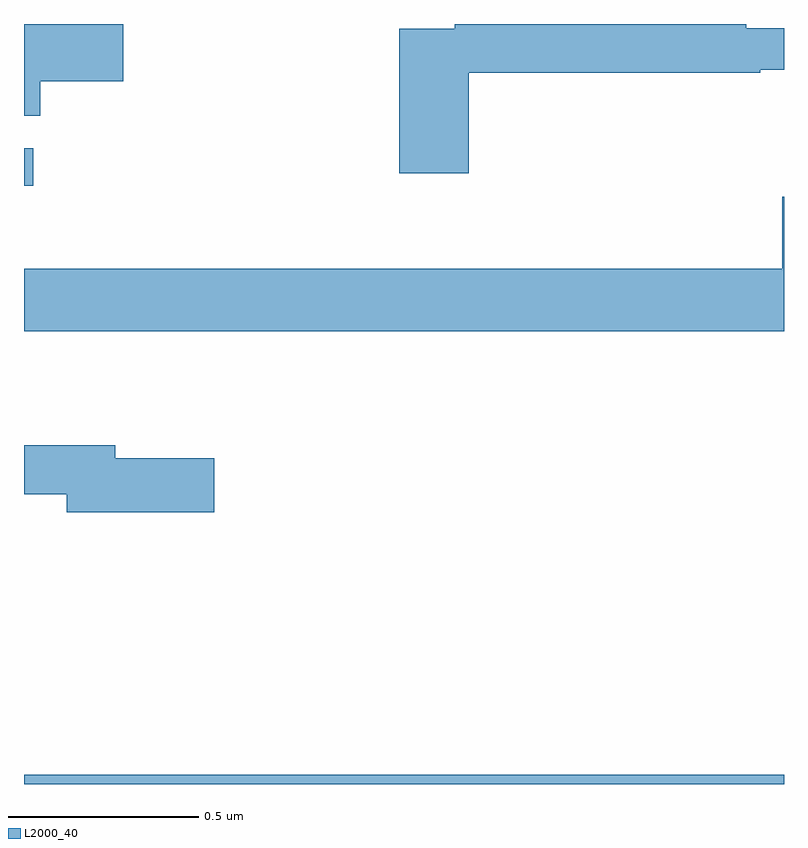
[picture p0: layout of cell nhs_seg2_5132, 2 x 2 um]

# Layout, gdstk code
import gdstk
lib = gdstk.Library(unit=1e-6, precision=1e-09)
def R(c, l, rs):  # rectangles x0, y0, x1, y1
    for r in rs: c.add(gdstk.rectangle(r[:2], r[2:], *l))
def P(c, l, *ps):  # polygons
    for p in ps: c.add(gdstk.Polygon(p, *l))
L2000_40 = (2000, 40)

nhs_seg2_5132 = lib.new_cell('nhs_seg2_5132')
R(nhs_seg2_5132, L2000_40, [(175,623.8,177,623.824), (175,625.375,175.024,625.473)])
P(nhs_seg2_5132, L2000_40, [(175.043,625.649),(175.261,625.649),(175.261,625.8),(175,625.8),(175,625.558),(175.043,625.558)],
  [(176.171,625.672),(176.937,625.672),(176.937,625.68),(177,625.68),(177,625.789),(176.9,625.789),(176.9,625.8),(176.134,625.8),(176.134,625.788),(175.988,625.788),(175.988,625.407),(176.171,625.407)],
  [(177,625.345),(176.996,625.345),(176.996,625.156),(175,625.156),(175,624.992),(177,624.992)],
  [(175.501,624.657),(175.24,624.657),(175.24,624.691),(175,624.691),(175,624.562),(175.112,624.562),(175.112,624.515),(175.501,624.515)])

lib.write_gds('nhs_seg2_5132.gds')
